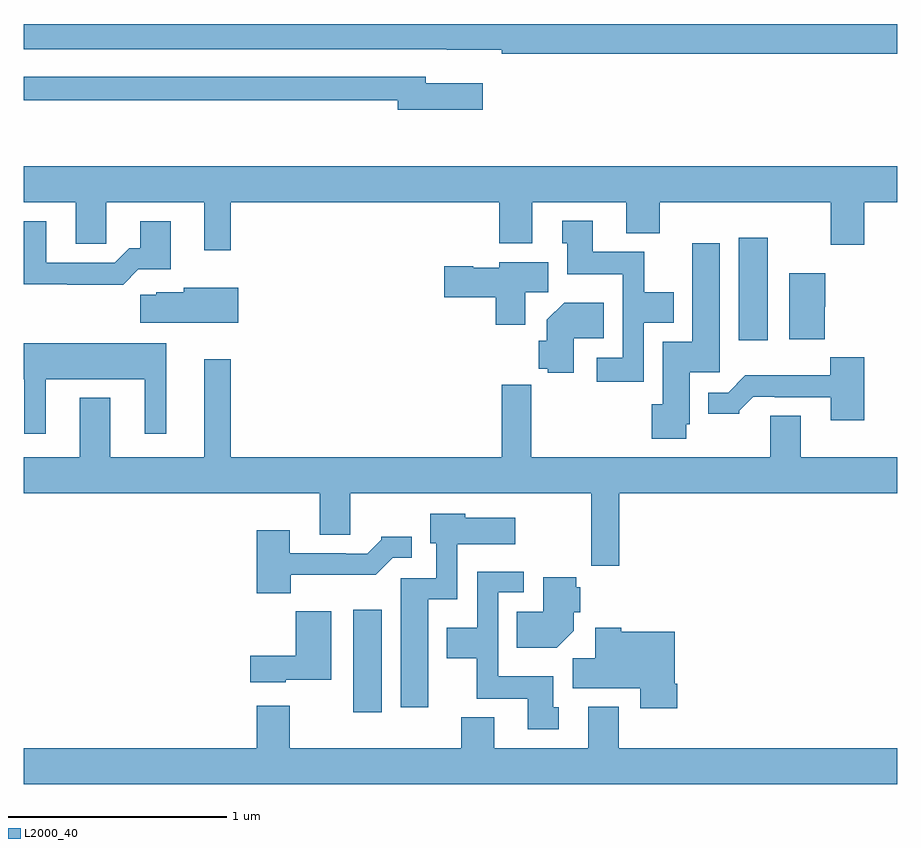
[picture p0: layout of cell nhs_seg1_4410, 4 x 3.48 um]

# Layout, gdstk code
import gdstk
lib = gdstk.Library(unit=1e-6, precision=1e-09)
def R(c, l, rs):  # rectangles x0, y0, x1, y1
    for r in rs: c.add(gdstk.rectangle(r[:2], r[2:], *l))
def P(c, l, *ps):  # polygons
    for p in ps: c.add(gdstk.Polygon(p, *l))
L2000_40 = (2000, 40)

nhs_seg1_4410 = lib.new_cell('nhs_seg1_4410')
R(nhs_seg1_4410, L2000_40, [(352.508,534.744,352.639,535.213), (354.275,536.448,354.406,536.917)])
P(nhs_seg1_4410, L2000_40, [(355,537.896),(351,537.896),(351,537.78),(352.936,537.78),(352.936,537.779),(353.188,537.779),(353.188,537.76),(355,537.76)],
  [(353.101,537.625),(352.84,537.625),(352.84,537.654),(351,537.654),(351,537.546),(352.712,537.546),(352.712,537.503),(353.101,537.503)],
  [(351.949,537.08),(353.177,537.08),(353.177,536.891),(353.329,536.891),(353.329,537.08),(353.759,537.08),(353.759,536.939),(353.912,536.939),(353.912,537.08),(354.695,537.08),(354.695,536.886),(354.848,536.886),(354.848,537.08),(355,537.08),(355,537.244),(351,537.244),(351,537.08),(351.239,537.08),(351.239,536.89),(351.378,536.89),(351.378,537.08),(351.827,537.08),(351.827,536.859),(351.949,536.859)],
  [(353.838,536.528),(353.977,536.528),(353.977,536.668),(353.841,536.668),(353.841,536.854),(353.605,536.854),(353.605,536.995),(353.465,536.995),(353.465,536.892),(353.489,536.892),(353.489,536.75),(353.742,536.75),(353.742,536.367),(353.625,536.367),(353.625,536.259),(353.838,536.259)],
  [(351.525,536.772),(351.673,536.772),(351.673,536.992),(351.533,536.992),(351.533,536.869),(351.484,536.869),(351.417,536.802),(351.103,536.802),(351.103,536.992),(351,536.992),(351,536.704),(351.199,536.704),(351.199,536.702),(351.455,536.702)],
  [(354.033,536.064),(354.049,536.064),(354.049,536.301),(354.187,536.301),(354.187,536.893),(354.062,536.893),(354.062,536.44),(353.927,536.44),(353.927,536.154),(353.876,536.154),(353.876,535.998),(354.033,535.998)],
  [(353.296,536.668),(353.401,536.668),(353.401,536.806),(353.178,536.806),(353.178,536.779),(353.058,536.779),(353.058,536.787),(352.926,536.787),(352.926,536.645),(353.162,536.645),(353.162,536.52),(353.296,536.52)],
  [(354.668,536.601),(354.67,536.601),(354.67,536.755),(354.506,536.755),(354.506,536.453),(354.668,536.453)],
  [(351.982,536.689),(351.732,536.689),(351.732,536.668),(351.606,536.668),(351.606,536.657),(351.534,536.657),(351.534,536.528),(351.982,536.528)],
  [(353.518,536.456),(353.657,536.456),(353.657,536.62),(353.474,536.62),(353.396,536.542),(353.396,536.446),(353.358,536.446),(353.358,536.318),(353.4,536.318),(353.4,536.299),(353.518,536.299)],
  [(351.1,536.27),(351.554,536.27),(351.554,536.019),(351.652,536.019),(351.652,536.434),(351,536.434),(351,536.27),(351.002,536.27),(351.002,536.019),(351.1,536.019)],
  [(354.848,536.371),(354.693,536.371),(354.693,536.287),(354.304,536.287),(354.225,536.208),(354.134,536.208),(354.134,536.111),(354.276,536.111),(354.276,536.126),(354.34,536.19),(354.439,536.19),(354.439,536.187),(354.695,536.187),(354.695,536.082),(354.848,536.082)],
  [(353.726,535.748),(355,535.748),(355,535.912),(354.559,535.912),(354.559,536.102),(354.419,536.102),(354.419,535.912),(353.324,535.912),(353.324,536.132),(353.323,536.132),(353.323,536.245),(353.188,536.245),(353.188,535.912),(351.949,535.912),(351.949,536.362),(351.827,536.362),(351.827,535.912),(351.397,535.912),(351.397,536.185),(351.257,536.185),(351.257,535.912),(351,535.912),(351,535.748),(352.355,535.748),(352.355,535.558),(352.495,535.558),(352.495,535.748),(353.598,535.748),(353.598,535.416),(353.726,535.416)],
  [(352.852,535.262),(352.986,535.262),(352.986,535.514),(353.251,535.514),(353.251,535.636),(353.022,535.636),(353.022,535.654),(352.862,535.654),(352.862,535.518),(352.89,535.518),(352.89,535.359),(352.727,535.359),(352.727,534.768),(352.852,534.768)],
  [(352.222,535.374),(352.611,535.374),(352.689,535.452),(352.777,535.452),(352.777,535.549),(352.638,535.549),(352.638,535.534),(352.574,535.47),(352.475,535.47),(352.475,535.473),(352.219,535.473),(352.219,535.579),(352.067,535.579),(352.067,535.289),(352.222,535.289)],
  [(353.449,534.768),(353.425,534.768),(353.425,534.91),(353.172,534.91),(353.172,535.293),(353.29,535.293),(353.29,535.389),(353.076,535.389),(353.076,535.132),(352.937,535.132),(352.937,534.992),(353.074,534.992),(353.074,534.806),(353.309,534.806),(353.309,534.666),(353.449,534.666)],
  [(353.518,535.118),(353.518,535.203),(353.549,535.203),(353.549,535.317),(353.531,535.317),(353.531,535.362),(353.378,535.362),(353.378,535.204),(353.257,535.204),(353.257,535.04),(353.44,535.04)],
  [(352.2,534.893),(352.408,534.893),(352.408,535.207),(352.246,535.207),(352.246,535.003),(352.038,535.003),(352.038,534.881),(352.2,534.881)],
  [(353.993,534.874),(353.98,534.874),(353.98,535.114),(353.736,535.114),(353.736,535.132),(353.618,535.132),(353.618,534.992),(353.513,534.992),(353.513,534.854),(353.822,534.854),(353.822,534.762),(353.993,534.762)],
  [(355,534.58),(353.725,534.58),(353.725,534.769),(353.585,534.769),(353.585,534.58),(353.155,534.58),(353.155,534.721),(353.003,534.721),(353.003,534.58),(352.219,534.58),(352.219,534.775),(352.067,534.775),(352.067,534.58),(351,534.58),(351,534.416),(355,534.416)])

lib.write_gds('nhs_seg1_4410.gds')
